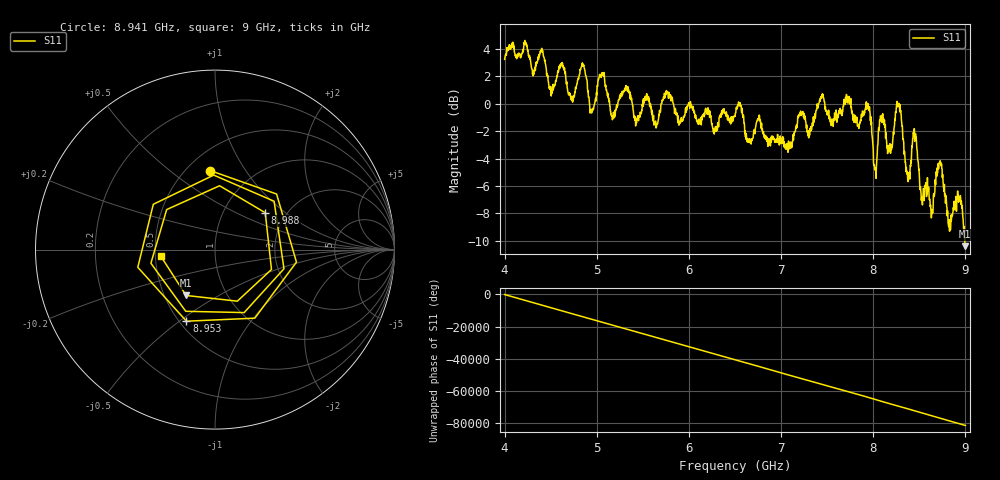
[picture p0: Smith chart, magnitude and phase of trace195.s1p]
! Created with skrf 1.8.0 (http://scikit-rf.org).
# Hz S RI R 50.0
!freq ReS11 ImS11
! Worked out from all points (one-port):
!   1601 points, 4 GHz to 9 GHz, reference 50 ohm
!   lowest |S11| = -10.4 dB at 8.997 GHz (marker M1), VSWR 1.87, Z = 32.1 - j18.1 ohm
!   |S11| at or under -10 dB: 8.993527 GHz to end of sweep
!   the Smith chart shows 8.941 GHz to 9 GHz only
!   S11 on the Smith chart (normalised r, x): 8.941 GHz: 0.65, +0.71; 8.953 GHz: 0.54, -0.53; 8.988 GHz: 1.57, +0.73; 9 GHz: 0.54, -0.04
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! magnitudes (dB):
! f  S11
! 4 GHz  3.2
! 4.625 GHz  2.8
! 4.731 GHz  0.6
! 4.853 GHz  2.9
! 4.947 GHz  -0.5
! 5.056 GHz  2.3
! 5.169 GHz  -1.2
! 5.25 GHz  0.6
! 5.875 GHz  -0.9
! 6.5 GHz  -0.9
! 7.125 GHz  -2.8
! 7.75 GHz  0.0
! 7.947 GHz  -0.3
! 8.022 GHz  -4.8
! 8.081 GHz  -0.9
! 8.181 GHz  -2.9
! 8.275 GHz  -0.2
! 8.375 GHz  -5.6
! 8.447 GHz  -1.9
! 8.531 GHz  -7.1
! 8.641 GHz  -8.0
! 8.719 GHz  -4.3
! 8.828 GHz  -9.3
! 8.941 GHz  -7.1
! 8.953 GHz  -7.3
! 8.988 GHz  -9.2
! 8.997 GHz  -10.4
! 9 GHz  -10.4
